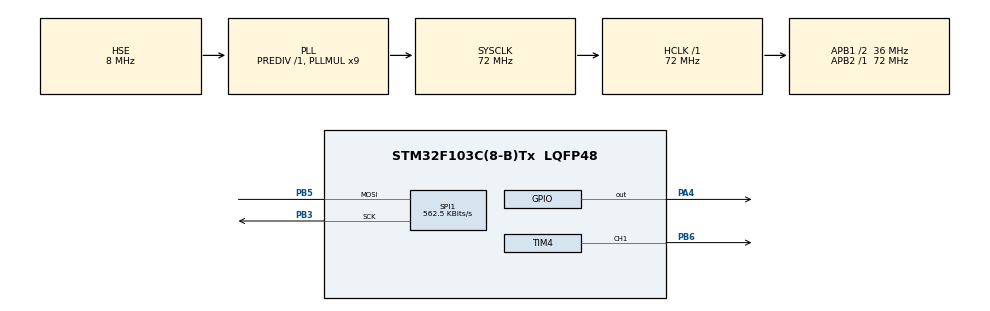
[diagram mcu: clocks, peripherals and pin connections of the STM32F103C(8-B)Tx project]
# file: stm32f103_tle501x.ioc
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Mcu.Family=STM32F1
Mcu.Name=STM32F103C(8-B)Tx
Mcu.Package=LQFP48
NVIC.PriorityGroup=NVIC_PRIORITYGROUP_4
PA13.Mode=Serial_Wire
PA13.Signal=SYS_JTMS-SWDIO
PA14.Mode=Serial_Wire
PA14.Signal=SYS_JTCK-SWCLK
PA4.Signal=GPIO_Output
PB3.Mode=Simplex_Bidirectional_Master
PB3.Signal=SPI1_SCK
PB5.Mode=Simplex_Bidirectional_Master
PB5.Signal=SPI1_MOSI
PB6.Signal=S_TIM4_CH1
PD0-OSC_IN.Mode=HSE-External-Oscillator
PD0-OSC_IN.Signal=RCC_OSC_IN
PD1-OSC_OUT.Mode=HSE-External-Oscillator
PD1-OSC_OUT.Signal=RCC_OSC_OUT
ProjectManager.HeapSize=0x200
ProjectManager.StackSize=0x400
ProjectManager.TargetToolchain=MDK-ARM V5.27
RCC.AHBFreq_Value=72000000
RCC.APB1CLKDivider=RCC_HCLK_DIV2
RCC.APB1Freq_Value=36000000
RCC.APB1TimFreq_Value=72000000
RCC.APB2Freq_Value=72000000
RCC.APB2TimFreq_Value=72000000
RCC.HCLKFreq_Value=72000000
RCC.PLLMUL=RCC_PLL_MUL9
RCC.PLLSourceVirtual=RCC_PLLSOURCE_HSE
RCC.RCC_MCOSource=RCC_MCO1SOURCE_PLLCLK
RCC.SYSCLKFreq_VALUE=72000000
RCC.SYSCLKSource=RCC_SYSCLKSOURCE_PLLCLK
RCC.USBFreq_Value=72000000
SH.S_TIM4_CH1.0=TIM4_CH1,PWM Generation1 CH1
SPI1.BaudRatePrescaler=SPI_BAUDRATEPRESCALER_128
SPI1.CalculateBaudRate=562.5 KBits/s
SPI1.Direction=SPI_DIRECTION_1LINE
SPI1.Mode=SPI_MODE_MASTER
SPI1.VirtualType=VM_MASTER
TIM4.AutoReloadPreload=TIM_AUTORELOAD_PRELOAD_ENABLE
TIM4.Channel-PWM\ Generation1\ CH1=TIM_CHANNEL_1
TIM4.Period=18-1
TIM4.Prescaler=0
TIM4.Pulse-PWM\ Generation1\ CH1=9
VP_TIM4_VS_ClockSourceINT.Mode=Internal
board=custom

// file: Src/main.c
/* USER CODE BEGIN Header */
/**
  ******************************************************************************
  * @file           : main.c
  * @brief          : Main program body
  ******************************************************************************
  * @attention
  *
  * <h2><center>&copy; Copyright (c) 2019 STMicroelectronics.
  * All rights reserved.</center></h2>
  *
  * This software component is licensed by ST under BSD 3-Clause license,
  * the "License"; You may not use this file except in compliance with the
  * License. You may obtain a copy of the License at:
  *                        opensource.org/licenses/BSD-3-Clause
  *
  ******************************************************************************
  */
/* USER CODE END Header */

#include "main.h"

SPI_HandleTypeDef hspi1;

TIM_HandleTypeDef htim4;

/* USER CODE BEGIN PV */
uint8_t TLE_registers[16];
int16_t X_value;
int16_t Y_value;
/* USER CODE END PV */

void SystemClock_Config(void);
static void MX_GPIO_Init(void);
static void MX_SPI1_Init(void);
static void MX_TIM4_Init(void);
/* USER CODE BEGIN PFP */
void TLE501x_Read(uint8_t * data, uint8_t addr, uint8_t length);
void TLE501x_Write(uint8_t * data, uint8_t addr, uint8_t length);
/* USER CODE END PFP */

int main(void)
{

  /* MCU Configuration--------------------------------------------------------*/

  /* Reset of all peripherals, Initializes the Flash interface and the Systick. */
  HAL_Init();

  /* Configure the system clock */
  SystemClock_Config();

  /* Initialize all configured peripherals */
  MX_GPIO_Init();
  MX_SPI1_Init();
  MX_TIM4_Init();
  /* USER CODE BEGIN 2 */
	HAL_TIM_PWM_Start(&htim4, TIM_CHANNEL_1);
  /* USER CODE END 2 */

  /* Infinite loop */
  /* USER CODE BEGIN WHILE */

  while (1)
  {
		uint8_t cmd = 0x00;
		TLE501x_Write(&cmd, 0, 0);		// update command

		TLE501x_Read(&TLE_registers[0], 0x00, 7);
		TLE501x_Read(&TLE_registers[7], 0x07, 7);
		TLE501x_Read(&TLE_registers[14], 0x0E, 2);

		X_value = TLE_registers[2]<<8 | TLE_registers[1];
		Y_value = TLE_registers[4]<<8 | TLE_registers[3];

	  HAL_Delay(1);
    /* USER CODE END WHILE */

  }
}

void SystemClock_Config(void)
{
  RCC_OscInitTypeDef RCC_OscInitStruct = {0};
  RCC_ClkInitTypeDef RCC_ClkInitStruct = {0};

  /** Initializes the CPU, AHB and APB busses clocks
  */
  RCC_OscInitStruct.OscillatorType = RCC_OSCILLATORTYPE_HSE;
  RCC_OscInitStruct.HSEState = RCC_HSE_ON;
  RCC_OscInitStruct.HSEPredivValue = RCC_HSE_PREDIV_DIV1;
  RCC_OscInitStruct.HSIState = RCC_HSI_ON;
  RCC_OscInitStruct.PLL.PLLState = RCC_PLL_ON;
  RCC_OscInitStruct.PLL.PLLSource = RCC_PLLSOURCE_HSE;
  RCC_OscInitStruct.PLL.PLLMUL = RCC_PLL_MUL9;
  if (HAL_RCC_OscConfig(&RCC_OscInitStruct) != HAL_OK)
  {
    Error_Handler();
  }
  /** Initializes the CPU, AHB and APB busses clocks
  */
  RCC_ClkInitStruct.ClockType = RCC_CLOCKTYPE_HCLK|RCC_CLOCKTYPE_SYSCLK
                              |RCC_CLOCKTYPE_PCLK1|RCC_CLOCKTYPE_PCLK2;
  RCC_ClkInitStruct.SYSCLKSource = RCC_SYSCLKSOURCE_PLLCLK;
  RCC_ClkInitStruct.AHBCLKDivider = RCC_SYSCLK_DIV1;
  RCC_ClkInitStruct.APB1CLKDivider = RCC_HCLK_DIV2;
  RCC_ClkInitStruct.APB2CLKDivider = RCC_HCLK_DIV1;

  if (HAL_RCC_ClockConfig(&RCC_ClkInitStruct, FLASH_LATENCY_2) != HAL_OK)
  {
    Error_Handler();
  }
}

static void MX_SPI1_Init(void)
{

  /* SPI1 parameter configuration*/
  hspi1.Instance = SPI1;
  hspi1.Init.Mode = SPI_MODE_MASTER;
  hspi1.Init.Direction = SPI_DIRECTION_1LINE;
  hspi1.Init.DataSize = SPI_DATASIZE_8BIT;
  hspi1.Init.CLKPolarity = SPI_POLARITY_LOW;
  hspi1.Init.CLKPhase = SPI_PHASE_1EDGE;
  hspi1.Init.NSS = SPI_NSS_SOFT;
  hspi1.Init.BaudRatePrescaler = SPI_BAUDRATEPRESCALER_128;
  hspi1.Init.FirstBit = SPI_FIRSTBIT_MSB;
  hspi1.Init.TIMode = SPI_TIMODE_DISABLE;
  hspi1.Init.CRCCalculation = SPI_CRCCALCULATION_DISABLE;
  hspi1.Init.CRCPolynomial = 10;
  if (HAL_SPI_Init(&hspi1) != HAL_OK)
  {
    Error_Handler();
  }

}

static void MX_TIM4_Init(void)
{

  TIM_ClockConfigTypeDef sClockSourceConfig = {0};
  TIM_MasterConfigTypeDef sMasterConfig = {0};
  TIM_OC_InitTypeDef sConfigOC = {0};

  htim4.Instance = TIM4;
  htim4.Init.Prescaler = 0;
  htim4.Init.CounterMode = TIM_COUNTERMODE_UP;
  htim4.Init.Period = 18-1;
  htim4.Init.ClockDivision = TIM_CLOCKDIVISION_DIV1;
  htim4.Init.AutoReloadPreload = TIM_AUTORELOAD_PRELOAD_ENABLE;
  if (HAL_TIM_Base_Init(&htim4) != HAL_OK)
  {
    Error_Handler();
  }
  sClockSourceConfig.ClockSource = TIM_CLOCKSOURCE_INTERNAL;
  if (HAL_TIM_ConfigClockSource(&htim4, &sClockSourceConfig) != HAL_OK)
  {
    Error_Handler();
  }
  if (HAL_TIM_PWM_Init(&htim4) != HAL_OK)
  {
    Error_Handler();
  }
  sMasterConfig.MasterOutputTrigger = TIM_TRGO_RESET;
  sMasterConfig.MasterSlaveMode = TIM_MASTERSLAVEMODE_DISABLE;
  if (HAL_TIMEx_MasterConfigSynchronization(&htim4, &sMasterConfig) != HAL_OK)
  {
    Error_Handler();
  }
  sConfigOC.OCMode = TIM_OCMODE_PWM1;
  sConfigOC.Pulse = 9;
  sConfigOC.OCPolarity = TIM_OCPOLARITY_HIGH;
  sConfigOC.OCFastMode = TIM_OCFAST_DISABLE;
  if (HAL_TIM_PWM_ConfigChannel(&htim4, &sConfigOC, TIM_CHANNEL_1) != HAL_OK)
  {
    Error_Handler();
  }
  HAL_TIM_MspPostInit(&htim4);

}

static void MX_GPIO_Init(void)
{
  GPIO_InitTypeDef GPIO_InitStruct = {0};

  /* GPIO Ports Clock Enable */
  __HAL_RCC_GPIOD_CLK_ENABLE();
  __HAL_RCC_GPIOA_CLK_ENABLE();
  __HAL_RCC_GPIOB_CLK_ENABLE();

  /*Configure GPIO pin Output Level */
  HAL_GPIO_WritePin(GPIOA, GPIO_PIN_4, GPIO_PIN_RESET);

  /*Configure GPIO pin : PA4 */
  GPIO_InitStruct.Pin = GPIO_PIN_4;
  GPIO_InitStruct.Mode = GPIO_MODE_OUTPUT_PP;
  GPIO_InitStruct.Pull = GPIO_NOPULL;
  GPIO_InitStruct.Speed = GPIO_SPEED_FREQ_LOW;
  HAL_GPIO_Init(GPIOA, &GPIO_InitStruct);

}

/* USER CODE BEGIN 4 */
void TLE501x_Read(uint8_t * data, uint8_t addr, uint8_t length)
{
	uint8_t cmd[1] = {0x80 | (addr & 0x0F)<<3 | (length & 0x07)};
	TLE501x_CS_LOW;
	HAL_SPI_Transmit(&hspi1, cmd, 1, SPI_TIMEOUT);
	HAL_SPI_Receive(&hspi1, data, length, SPI_TIMEOUT);
	TLE501x_CS_HIGH;
}

void TLE501x_Write(uint8_t * data, uint8_t addr, uint8_t length)
{
	uint8_t cmd[1] = {addr<<3 | (addr & 0x0F)<<3 | (length & 0x07)};
	TLE501x_CS_LOW;
	HAL_SPI_Transmit(&hspi1, cmd, 1, SPI_TIMEOUT);
	HAL_SPI_Transmit(&hspi1, data, length, SPI_TIMEOUT);
	TLE501x_CS_HIGH;
}
/* USER CODE END 4 */

void Error_Handler(void)
{
}

/************************ (C) COPYRIGHT STMicroelectronics *****END OF FILE****/
